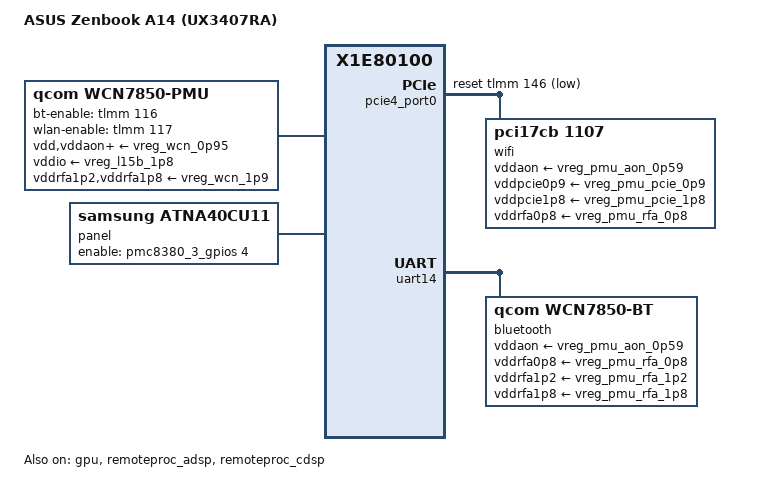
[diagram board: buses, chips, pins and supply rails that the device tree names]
// SPDX-License-Identifier: BSD-3-Clause
/*
 * Copyright (c) 2025 Qualcomm Innovation Center, Inc. All rights reserved.
 * Copyright (c) 2025 Aleksandrs Vinarskis <alex.vinarskis@gmail.com>
 */

/dts-v1/;

#include "hamoa.dtsi"
#include "x1-asus-zenbook-a14.dtsi"

/ {
	model = "ASUS Zenbook A14 (UX3407RA)";
	compatible = "asus,zenbook-a14-ux3407ra", "qcom,x1e80100";

	wcn7850-pmu {
		compatible = "qcom,wcn7850-pmu";

		vdd-supply = <&vreg_wcn_0p95>;
		vddio-supply = <&vreg_l15b_1p8>;
		vddaon-supply = <&vreg_wcn_0p95>;
		vdddig-supply = <&vreg_wcn_0p95>;
		vddrfa1p2-supply = <&vreg_wcn_1p9>;
		vddrfa1p8-supply = <&vreg_wcn_1p9>;

		bt-enable-gpios = <&tlmm 116 GPIO_ACTIVE_HIGH>;
		wlan-enable-gpios = <&tlmm 117 GPIO_ACTIVE_HIGH>;

		pinctrl-0 = <&wcn_bt_en>, <&wcn_wlan_en>;
		pinctrl-names = "default";

		regulators {
			vreg_pmu_rfa_cmn: ldo0 {
				regulator-name = "vreg_pmu_rfa_cmn";
			};

			vreg_pmu_aon_0p59: ldo1 {
				regulator-name = "vreg_pmu_aon_0p59";
			};

			vreg_pmu_wlcx_0p8: ldo2 {
				regulator-name = "vreg_pmu_wlcx_0p8";
			};

			vreg_pmu_wlmx_0p85: ldo3 {
				regulator-name = "vreg_pmu_wlmx_0p85";
			};

			vreg_pmu_btcmx_0p85: ldo4 {
				regulator-name = "vreg_pmu_btcmx_0p85";
			};

			vreg_pmu_rfa_0p8: ldo5 {
				regulator-name = "vreg_pmu_rfa_0p8";
			};

			vreg_pmu_rfa_1p2: ldo6 {
				regulator-name = "vreg_pmu_rfa_1p2";
			};

			vreg_pmu_rfa_1p8: ldo7 {
				regulator-name = "vreg_pmu_rfa_1p8";
			};

			vreg_pmu_pcie_0p9: ldo8 {
				regulator-name = "vreg_pmu_pcie_0p9";
			};

			vreg_pmu_pcie_1p8: ldo9 {
				regulator-name = "vreg_pmu_pcie_1p8";
			};
		};
	};
};

&gpu {
	status = "okay";
};

&gpu_zap_shader {
	firmware-name = "qcom/x1e80100/ASUSTeK/zenbook-a14/qcdxkmsuc8380.mbn";
};

&pcie4_port0 {
	reset-gpios = <&tlmm 146 GPIO_ACTIVE_LOW>;
	wake-gpios = <&tlmm 148 GPIO_ACTIVE_LOW>;

	wifi@0 {
		compatible = "pci17cb,1107";
		reg = <0x10000 0x0 0x0 0x0 0x0>;

		vddaon-supply = <&vreg_pmu_aon_0p59>;
		vddpcie0p9-supply = <&vreg_pmu_pcie_0p9>;
		vddpcie1p8-supply = <&vreg_pmu_pcie_1p8>;
		vddrfa0p8-supply = <&vreg_pmu_rfa_0p8>;
		vddrfa1p2-supply = <&vreg_pmu_rfa_1p2>;
		vddrfa1p8-supply = <&vreg_pmu_rfa_1p8>;
		vddrfacmn-supply = <&vreg_pmu_rfa_cmn>;
		vddwlcx-supply = <&vreg_pmu_wlcx_0p8>;
		vddwlmx-supply = <&vreg_pmu_wlmx_0p85>;
	};
};

&panel {
	compatible = "samsung,atna40cu11", "samsung,atna33xc20";
	enable-gpios = <&pmc8380_3_gpios 4 GPIO_ACTIVE_HIGH>;

	pinctrl-0 = <&edp_bl_en>;
	pinctrl-names = "default";
};

&remoteproc_adsp {
	firmware-name = "qcom/x1e80100/ASUSTeK/zenbook-a14/qcadsp8380.mbn",
			"qcom/x1e80100/ASUSTeK/zenbook-a14/adsp_dtbs.elf";

	status = "okay";
};

&remoteproc_cdsp {
	firmware-name = "qcom/x1e80100/ASUSTeK/zenbook-a14/qccdsp8380.mbn",
			"qcom/x1e80100/ASUSTeK/zenbook-a14/cdsp_dtbs.elf";

	status = "okay";
};

&uart14 {
	status = "okay";

	bluetooth {
		compatible = "qcom,wcn7850-bt";

		vddaon-supply = <&vreg_pmu_aon_0p59>;
		vddrfa0p8-supply = <&vreg_pmu_rfa_0p8>;
		vddrfa1p2-supply = <&vreg_pmu_rfa_1p2>;
		vddrfa1p8-supply = <&vreg_pmu_rfa_1p8>;
		vddrfacmn-supply = <&vreg_pmu_rfa_cmn>;
		vddwlcx-supply = <&vreg_pmu_wlcx_0p8>;
		vddwlmx-supply = <&vreg_pmu_wlmx_0p85>;

		max-speed = <3000000>;
	};
};
